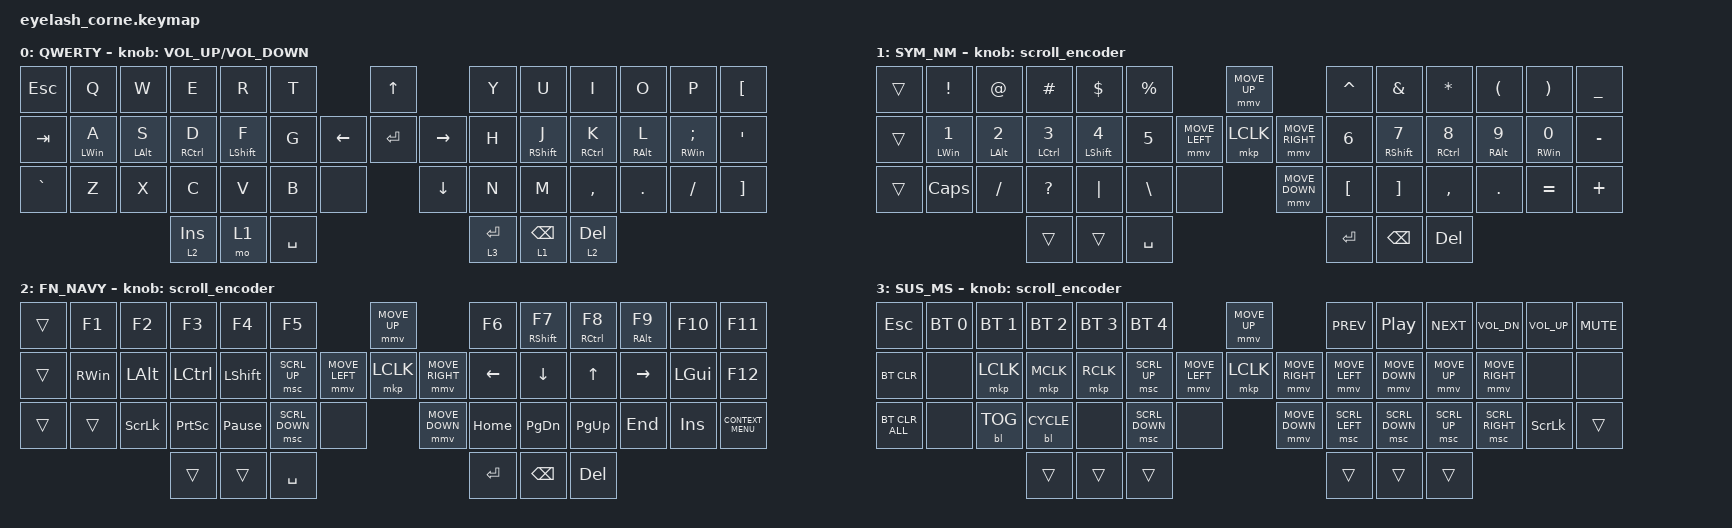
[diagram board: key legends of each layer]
#define ZMK_POINTING_DEFAULT_MOVE_VAL 1200  // 600
#define ZMK_POINTING_DEFAULT_SCRL_VAL 25   // 10

#include <input/processors.dtsi>
#include <zephyr/dt-bindings/input/input-event-codes.h>
#include <behaviors.dtsi>
#include <dt-bindings/zmk/backlight.h>
#include <dt-bindings/zmk/bt.h>
#include <dt-bindings/zmk/keys.h>
#include <dt-bindings/zmk/pointing.h>
#include <dt-bindings/zmk/rgb.h>

&mmv_input_listener { input-processors = <&zip_xy_scaler 2 1>; };

&msc_input_listener { input-processors = <&zip_scroll_scaler 2 1>; };

&msc {
    acceleration-exponent = <1>;      // 0
    time-to-max-speed-ms = <100>;       // 300
    delay-ms = <0>;                   // 0
};

&mmv {
    time-to-max-speed-ms = <500>;
    acceleration-exponent = <1>;
    trigger-period-ms = <16>;
};

&soft_off { hold-time-ms = <2000>; };

/ {
    behaviors {
        td_shift: td_shift {
            compatible = "zmk,behavior-tap-dance";
            display-name = "Shift/Caps Lock Tap Dance";
            #binding-cells = <0>;
            bindings = <&kp LEFT_SHIFT>, <&kp CAPS>;
        };

        hrm: hrm {
            compatible = "zmk,behavior-hold-tap";
            label = "HRM";
            bindings = <&kp>, <&kp>;

            #binding-cells = <2>;
            tapping-term-ms = <200>;
            flavor = "balanced";
        };
    };

    rgb_encoder: rgb_encoder {
        compatible = "zmk,behavior-sensor-rotate";
        #sensor-binding-cells = <0>;
        bindings = <&rgb_ug RGB_BRI>, <&rgb_ug RGB_BRD>;
    };

    scroll_encoder: scroll_encoder {
        compatible = "zmk,behavior-sensor-rotate";
        #sensor-binding-cells = <0>;
        bindings = <&msc SCRL_DOWN>, <&msc SCRL_UP>;

        tap-ms = <100>;
    };

    combos {
        compatible = "zmk,combos";

        softoff {
            bindings = <&soft_off>;
            key-positions = <1 15 29>;
        };
    };

    keymap {
        compatible = "zmk,keymap";

        default_layer {
            display-name = "QWERTY";
            bindings = <
&kp ESCAPE  &kp Q            &kp W            &kp E         &kp R              &kp T                         &kp UP                &kp Y        &kp U               &kp I         &kp O             &kp P                &kp LEFT_BRACKET
&kp TAB     &hrm LEFT_WIN A  &hrm LEFT_ALT S  &hrm RCTRL D  &hrm LEFT_SHIFT F  &kp G               &kp LEFT  &kp ENTER  &kp RIGHT  &kp H        &hrm RIGHT_SHIFT J  &hrm RCTRL K  &hrm RIGHT_ALT L  &hrm RIGHT_WIN SEMI  &kp SQT
&kp GRAVE   &kp Z            &kp X            &kp C         &kp V              &kp B      &none              &kp DOWN              &kp N        &kp M               &kp COMMA     &kp DOT           &kp FSLH             &kp RIGHT_BRACKET
                                              &lt 2 INSERT  &mo 1              &kp SPACE                                           &lt 3 ENTER  &lt 1 BACKSPACE     &lt 2 DELETE
            >;

            sensor-bindings = <&inc_dec_kp C_VOLUME_UP C_VOLUME_DOWN>;
        };

        lower_layer {
            display-name = "SYM_NM";
            bindings = <
&trans  &kp EXCL          &kp AT            &kp HASH       &kp DOLLAR          &kp PERCENT                             &mmv MOVE_UP                     &kp CARET         &kp AMPS             &kp ASTERISK   &kp LEFT_PARENTHESIS  &kp RIGHT_PARENTHESIS  &kp UNDER
&trans  &hrm LEFT_WIN N1  &hrm LEFT_ALT N2  &hrm LCTRL N3  &hrm LEFT_SHIFT N4  &kp N5                  &mmv MOVE_LEFT  &mkp LCLK       &mmv MOVE_RIGHT  &kp N6            &hrm RIGHT_SHIFT N7  &hrm RCTRL N8  &hrm RIGHT_ALT N9     &hrm RIGHT_WIN N0      &kp MINUS
&trans  &kp CAPS          &kp SLASH         &kp QUESTION   &kp PIPE            &kp BACKSLASH  &none                    &mmv MOVE_DOWN                   &kp LEFT_BRACKET  &kp RIGHT_BRACKET    &kp COMMA      &kp DOT               &kp EQUAL              &kp PLUS
                                            &trans         &trans              &kp SPACE                                                                &kp ENTER         &kp BACKSPACE        &kp DEL
            >;

            sensor-bindings = <&scroll_encoder>;
        };

        raise_layer {
            display-name = "FN_NAVY";
            bindings = <
&trans  &kp F1         &kp F2          &kp F3            &kp F4           &kp F5                                   &mmv MOVE_UP                     &kp F6          &hrm RIGHT_SHIFT F7  &hrm RIGHT_CONTROL F8  &hrm RIGHT_ALT F9  &kp F10       &kp F11
&trans  &kp RIGHT_WIN  &kp LEFT_ALT    &kp LEFT_CONTROL  &kp LEFT_SHIFT   &msc SCRL_UP             &mmv MOVE_LEFT  &mkp LCLK       &mmv MOVE_RIGHT  &kp LEFT_ARROW  &kp DOWN_ARROW       &kp UP_ARROW           &kp RIGHT_ARROW    &kp LEFT_GUI  &kp F12
&trans  &trans         &kp SCROLLLOCK  &kp PRINTSCREEN   &kp PAUSE_BREAK  &msc SCRL_DOWN  &none                    &mmv MOVE_DOWN                   &kp HOME        &kp PAGE_DOWN        &kp PAGE_UP            &kp END            &kp INSERT    &kp K_CONTEXT_MENU
                                       &trans            &trans           &kp SPACE                                                                 &kp ENTER       &kp BACKSPACE        &kp DELETE
            >;

            sensor-bindings = <&scroll_encoder>;
        };

        layer_3 {
            display-name = "SUS_MS";
            bindings = <
&kp ESC         &bt BT_SEL 0  &bt BT_SEL 1  &bt BT_SEL 2  &bt BT_SEL 3  &bt BT_SEL 4                             &mmv MOVE_UP                     &kp C_PREV      &kp C_PLAY_PAUSE  &kp C_NEXT    &kp C_VOL_DN     &kp C_VOLUME_UP  &kp C_MUTE
&bt BT_CLR      &none         &mkp LCLK     &mkp MCLK     &mkp RCLK     &msc SCRL_UP             &mmv MOVE_LEFT  &mkp LCLK       &mmv MOVE_RIGHT  &mmv MOVE_LEFT  &mmv MOVE_DOWN    &mmv MOVE_UP  &mmv MOVE_RIGHT  &none            &none
&bt BT_CLR_ALL  &none         &bl BL_TOG    &bl BL_CYCLE  &none         &msc SCRL_DOWN  &none                    &mmv MOVE_DOWN                   &msc SCRL_LEFT  &msc SCRL_DOWN    &msc SCRL_UP  &msc SCRL_RIGHT  &kp SCROLLLOCK   &trans
                                            &trans        &trans        &trans                                                                    &trans          &trans            &trans
            >;

            sensor-bindings = <&scroll_encoder>;
        };
    };
};
